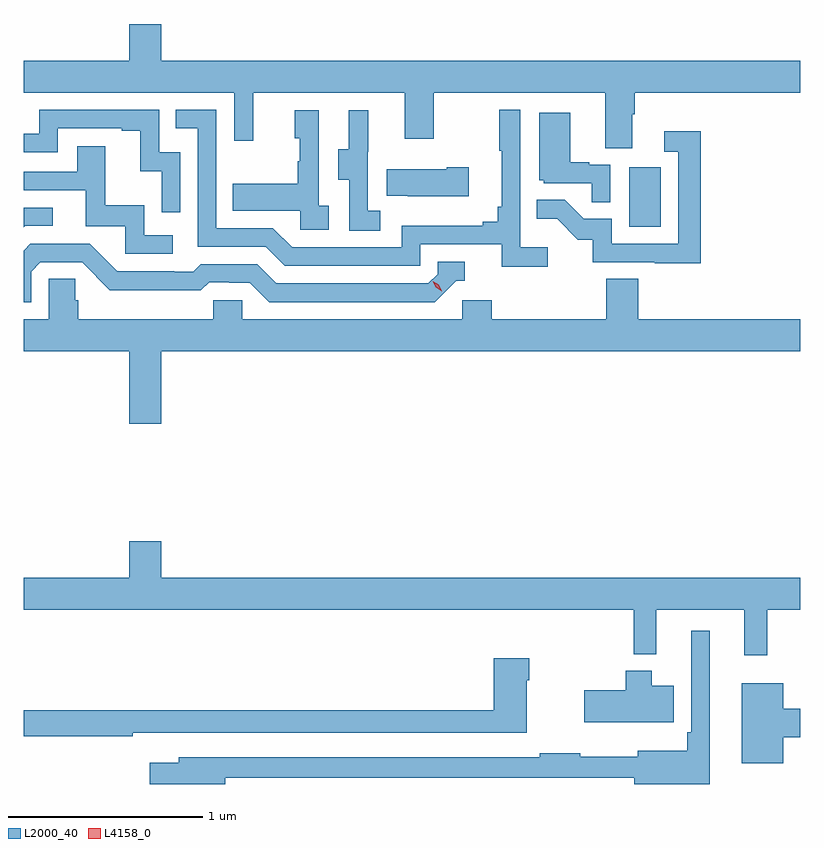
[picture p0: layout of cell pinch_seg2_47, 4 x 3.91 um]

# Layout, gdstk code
import gdstk
lib = gdstk.Library(unit=1e-6, precision=1e-09)
def R(c, l, rs):  # rectangles x0, y0, x1, y1
    for r in rs: c.add(gdstk.rectangle(r[:2], r[2:], *l))
def P(c, l, *ps):  # polygons
    for p in ps: c.add(gdstk.Polygon(p, *l))
L2000_40 = (2000, 40)
L4158_0 = (4158, 0)

pinch_seg2_47 = lib.new_cell('pinch_seg2_47')
R(pinch_seg2_47, L2000_40, [(1018.73,648.276,1018.894,648.583)])
P(pinch_seg2_47, L2000_40, [(1018.747,648.856),(1018.76,648.856),(1018.76,648.968),(1019.612,648.968),(1019.612,649.132),(1016.32,649.132),(1016.32,649.321),(1016.156,649.321),(1016.156,649.132),(1015.612,649.132),(1015.612,648.968),(1016.697,648.968),(1016.697,648.72),(1016.795,648.72),(1016.795,648.968),(1017.575,648.968),(1017.575,648.729),(1017.723,648.729),(1017.723,648.968),(1018.607,648.968),(1018.607,648.682),(1018.747,648.682)],
  [(1018.312,648.172),(1018.17,648.172),(1018.17,648.88),(1018.062,648.88),(1018.062,648.667),(1018.073,648.667),(1018.073,648.379),(1018.054,648.379),(1018.054,648.302),(1017.977,648.302),(1017.977,648.283),(1017.558,648.283),(1017.558,648.171),(1016.994,648.171),(1016.895,648.27),(1016.604,648.27),(1016.604,648.879),(1016.395,648.879),(1016.395,648.783),(1016.508,648.783),(1016.508,648.174),(1016.858,648.174),(1016.957,648.075),(1017.654,648.075),(1017.654,648.186),(1018.073,648.186),(1018.073,648.07),(1018.312,648.07)],
  [(1016.418,648.66),(1016.31,648.66),(1016.31,648.879),(1015.692,648.879),(1015.692,648.756),(1015.612,648.756),(1015.612,648.66),(1015.788,648.66),(1015.788,648.783),(1016.117,648.783),(1016.117,648.771),(1016.213,648.771),(1016.213,648.563),(1016.322,648.563),(1016.322,648.351),(1016.418,648.351)],
  [(1017.448,648.359),(1017.384,648.359),(1017.384,648.663),(1017.386,648.663),(1017.386,648.877),(1017.287,648.877),(1017.287,648.675),(1017.233,648.675),(1017.233,648.52),(1017.288,648.52),(1017.288,648.256),(1017.448,648.256)],
  [(1017.184,648.386),(1017.132,648.386),(1017.132,648.877),(1017.008,648.877),(1017.008,648.732),(1017.034,648.732),(1017.034,648.614),(1017.024,648.614),(1017.024,648.499),(1016.689,648.499),(1016.689,648.359),(1017.036,648.359),(1017.036,648.261),(1017.184,648.261)],
  [(1018.632,648.597),(1018.526,648.597),(1018.526,648.61),(1018.426,648.61),(1018.426,648.865),(1018.268,648.865),(1018.268,648.516),(1018.29,648.516),(1018.29,648.501),(1018.537,648.501),(1018.537,648.403),(1018.632,648.403)],
  [(1019.099,648.769),(1018.911,648.769),(1018.911,648.663),(1018.983,648.663),(1018.983,648.189),(1018.641,648.189),(1018.641,648.318),(1018.497,648.318),(1018.399,648.416),(1018.255,648.416),(1018.255,648.317),(1018.359,648.317),(1018.466,648.21),(1018.543,648.21),(1018.543,648.093),(1018.861,648.093),(1018.861,648.088),(1019.099,648.088)],
  [(1016.38,648.234),(1016.232,648.234),(1016.232,648.388),(1016.033,648.388),(1016.033,648.691),(1015.889,648.691),(1015.889,648.561),(1015.612,648.561),(1015.612,648.465),(1015.931,648.465),(1015.931,648.279),(1016.136,648.279),(1016.136,648.138),(1016.38,648.138)],
  [(1017.904,648.582),(1017.791,648.582),(1017.791,648.574),(1017.481,648.574),(1017.481,648.437),(1017.589,648.437),(1017.589,648.434),(1017.904,648.434)],
  [(1015.62,648.282),(1015.762,648.282),(1015.762,648.375),(1015.612,648.375),(1015.612,648.274)],
  [(1015.65,648.045),(1015.698,648.093),(1015.914,648.093),(1016.056,647.951),(1016.292,647.951),(1016.292,647.949),(1016.525,647.949),(1016.567,647.991),(1016.67,647.991),(1016.67,647.988),(1016.777,647.988),(1016.876,647.889),(1017.729,647.889),(1017.84,648),(1017.883,648),(1017.883,648.096),(1017.744,648.096),(1017.744,648.033),(1017.696,647.985),(1016.913,647.985),(1016.814,648.084),(1016.525,648.084),(1016.486,648.045),(1016.387,648.045),(1016.387,648.048),(1016.094,648.048),(1015.953,648.189),(1015.647,648.189),(1015.612,648.154),(1015.612,647.889),(1015.65,647.889)],
  [(1016.32,647.636),(1019.612,647.636),(1019.612,647.8),(1018.778,647.8),(1018.778,648.008),(1018.613,648.008),(1018.613,647.8),(1018.022,647.8),(1018.022,647.898),(1017.87,647.898),(1017.87,647.8),(1016.739,647.8),(1016.739,647.898),(1016.589,647.898),(1016.589,647.8),(1015.892,647.8),(1015.892,647.898),(1015.877,647.898),(1015.877,648.008),(1015.74,648.008),(1015.74,647.8),(1015.612,647.8),(1015.612,647.636),(1016.156,647.636),(1016.156,647.262),(1016.32,647.262)],
  [(1016.32,646.657),(1016.156,646.657),(1016.156,646.468),(1015.612,646.468),(1015.612,646.304),(1018.753,646.304),(1018.753,646.076),(1018.871,646.076),(1018.871,646.304),(1019.324,646.304),(1019.324,646.071),(1019.441,646.071),(1019.441,646.304),(1019.612,646.304),(1019.612,646.468),(1016.32,646.468)],
  [(1016.65,645.438),(1018.756,645.438),(1018.756,645.407),(1019.146,645.407),(1019.146,646.195),(1019.049,646.195),(1019.049,645.673),(1019.029,645.673),(1019.029,645.577),(1018.775,645.577),(1018.775,645.547),(1018.479,645.547),(1018.479,645.566),(1018.27,645.566),(1018.27,645.546),(1016.411,645.546),(1016.411,645.517),(1016.262,645.517),(1016.262,645.407),(1016.65,645.407)],
  [(1016.174,645.672),(1018.204,645.672),(1018.204,645.941),(1018.217,645.941),(1018.217,646.054),(1018.034,646.054),(1018.034,645.788),(1015.612,645.788),(1015.612,645.652),(1016.174,645.652)],
  [(1018.96,645.913),(1018.846,645.913),(1018.846,645.991),(1018.712,645.991),(1018.712,645.891),(1018.5,645.891),(1018.5,645.725),(1018.96,645.725)],
  [(1019.524,645.647),(1019.612,645.647),(1019.612,645.794),(1019.524,645.794),(1019.524,645.925),(1019.309,645.925),(1019.309,645.515),(1019.524,645.515)])
P(pinch_seg2_47, L4158_0, [(1017.764,647.945),(1017.734,647.964),(1017.718,647.997),(1017.718,647.997),(1017.718,647.997),(1017.749,647.978),(1017.765,647.945),(1017.765,647.945)])

lib.write_gds('pinch_seg2_47.gds')
